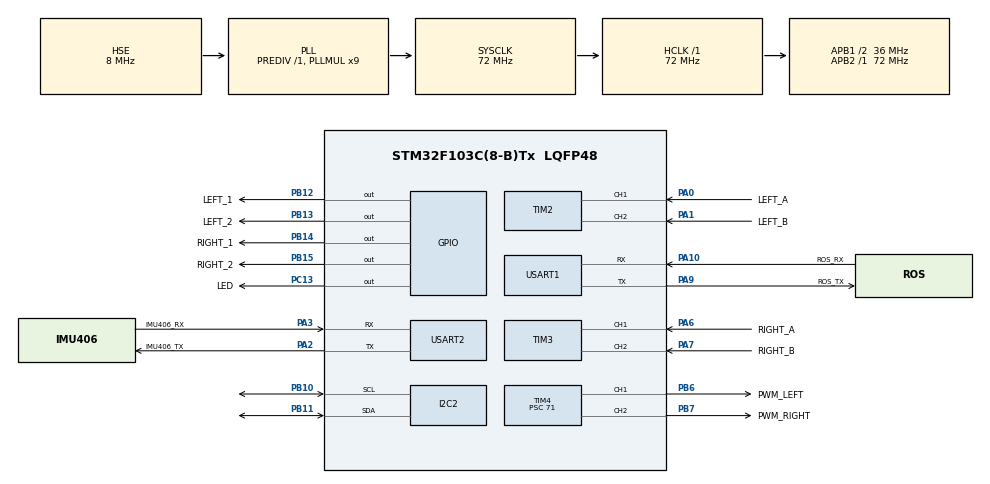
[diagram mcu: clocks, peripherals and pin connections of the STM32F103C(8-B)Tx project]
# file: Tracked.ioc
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I2C2.I2C_Mode=I2C_Fast
Mcu.Family=STM32F1
Mcu.Name=STM32F103C(8-B)Tx
Mcu.Package=LQFP48
NVIC.PriorityGroup=NVIC_PRIORITYGROUP_4
NVIC.USART1_IRQn=true\:0\:0\:false\:false\:true\:true\:true\:true
NVIC.USART2_IRQn=true\:0\:0\:false\:false\:true\:true\:true\:true
PA0-WKUP.GPIO_Label=LEFT_A
PA0-WKUP.Signal=S_TIM2_CH1_ETR
PA1.GPIO_Label=LEFT_B
PA1.Signal=S_TIM2_CH2
PA10.GPIO_Label=ROS_RX
PA10.Mode=Asynchronous
PA10.Signal=USART1_RX
PA13.Mode=Serial_Wire
PA13.Signal=SYS_JTMS-SWDIO
PA14.Mode=Serial_Wire
PA14.Signal=SYS_JTCK-SWCLK
PA2.GPIO_Label=IMU406_TX
PA2.Mode=Asynchronous
PA2.Signal=USART2_TX
PA3.GPIO_Label=IMU406_RX
PA3.Mode=Asynchronous
PA3.Signal=USART2_RX
PA6.GPIO_Label=RIGHT_A
PA6.Signal=S_TIM3_CH1
PA7.GPIO_Label=RIGHT_B
PA7.Signal=S_TIM3_CH2
PA9.GPIO_Label=ROS_TX
PA9.Mode=Asynchronous
PA9.Signal=USART1_TX
PB10.Mode=I2C
PB10.Signal=I2C2_SCL
PB11.Mode=I2C
PB11.Signal=I2C2_SDA
PB12.GPIO_Label=LEFT_1
PB12.Signal=GPIO_Output
PB13.GPIO_Label=LEFT_2
PB13.Signal=GPIO_Output
PB14.GPIO_Label=RIGHT_1
PB14.Signal=GPIO_Output
PB15.GPIO_Label=RIGHT_2
PB15.Signal=GPIO_Output
PB6.GPIO_Label=PWM_LEFT
PB6.Signal=S_TIM4_CH1
PB7.GPIO_Label=PWM_RIGHT
PB7.Signal=S_TIM4_CH2
PC13-TAMPER-RTC.GPIO_Label=LED
PC13-TAMPER-RTC.Signal=GPIO_Output
PC14-OSC32_IN.Mode=LSE-External-Oscillator
PC14-OSC32_IN.Signal=RCC_OSC32_IN
PC15-OSC32_OUT.Mode=LSE-External-Oscillator
PC15-OSC32_OUT.Signal=RCC_OSC32_OUT
PD0-OSC_IN.Mode=HSE-External-Oscillator
PD0-OSC_IN.Signal=RCC_OSC_IN
PD1-OSC_OUT.Mode=HSE-External-Oscillator
PD1-OSC_OUT.Signal=RCC_OSC_OUT
ProjectManager.HeapSize=0x200
ProjectManager.StackSize=0x400
ProjectManager.TargetToolchain=CMake
RCC.AHBFreq_Value=72000000
RCC.APB1CLKDivider=RCC_HCLK_DIV2
RCC.APB1Freq_Value=36000000
RCC.APB1TimFreq_Value=72000000
RCC.APB2Freq_Value=72000000
RCC.APB2TimFreq_Value=72000000
RCC.HCLKFreq_Value=72000000
RCC.PLLMUL=RCC_PLL_MUL9
RCC.PLLSourceVirtual=RCC_PLLSOURCE_HSE
RCC.SYSCLKFreq_VALUE=72000000
RCC.SYSCLKSource=RCC_SYSCLKSOURCE_PLLCLK
RCC.USBFreq_Value=72000000
SH.S_TIM2_CH1_ETR.0=TIM2_CH1,Encoder_Interface
SH.S_TIM2_CH2.0=TIM2_CH2,Encoder_Interface
SH.S_TIM3_CH1.0=TIM3_CH1,Encoder_Interface
SH.S_TIM3_CH2.0=TIM3_CH2,Encoder_Interface
SH.S_TIM4_CH1.0=TIM4_CH1,PWM Generation1 CH1
SH.S_TIM4_CH2.0=TIM4_CH2,PWM Generation2 CH2
TIM2.EncoderMode=TIM_ENCODERMODE_TI12
TIM3.EncoderMode=TIM_ENCODERMODE_TI12
TIM4.Channel-PWM\ Generation1\ CH1=TIM_CHANNEL_1
TIM4.Channel-PWM\ Generation2\ CH2=TIM_CHANNEL_2
TIM4.Period=999
TIM4.Prescaler=71
USART1.VirtualMode=VM_ASYNC
USART2.VirtualMode=VM_ASYNC
VP_TIM4_VS_ClockSourceINT.Mode=Internal
board=custom

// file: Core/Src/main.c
/* USER CODE BEGIN Header */
/**
  ******************************************************************************
  * @file           : main.c
  * @brief          : Main program body
  ******************************************************************************
  * @attention
  *
  * Copyright (c) 2026 STMicroelectronics.
  * All rights reserved.
  *
  * This software is licensed under terms that can be found in the LICENSE file
  * in the root directory of this software component.
  * If no LICENSE file comes with this software, it is provided AS-IS.
  *
  ******************************************************************************
  */
/* USER CODE END Header */
#include "main.h"
#include "i2c.h"
#include "tim.h"
#include "usart.h"
#include "gpio.h"

/* USER CODE BEGIN Includes */
#include "oled.h"
#include "Tracked.h"
#include <stdio.h>
/* USER CODE END Includes */

void SystemClock_Config(void);

int main(void)
{

  /* MCU Configuration--------------------------------------------------------*/

  /* Reset of all peripherals, Initializes the Flash interface and the Systick. */
  HAL_Init();

  /* Configure the system clock */
  SystemClock_Config();

  /* Initialize all configured peripherals */
  MX_GPIO_Init();
  MX_TIM2_Init();
  MX_TIM3_Init();
  MX_TIM4_Init();
  MX_USART1_UART_Init();
  MX_USART2_UART_Init();
  MX_I2C2_Init();
  /* USER CODE BEGIN 2 */

  OLED_Init();
  OLED_NewFrame();
  OLED_PrintString(0, 0, "Tracked Init...", &font16x16, OLED_COLOR_NORMAL);
  OLED_ShowFrame();
  HAL_Delay(300);

  /* ---- 底盘初始化 ---- */
  Tracked_Init();

  /* ---- 设置目标速度：前进 0.2 m/s ---- */
  Tracked_SetTargetSpeed(0.05f, 0.0f);

  /* USER CODE END 2 */

  /* Infinite loop */
  /* USER CODE BEGIN WHILE */
  while (1) {
    /* ============================================================ */
    /*  1. 设置目标速度（持续刷新，防止超时清零）                     */
    /* ============================================================ */
    Tracked_SetTargetSpeed(0.05f, 0.0f);   /* 前进 0.05 m/s，不转向 */

    /* ============================================================ */
    /*  2. OLED 显示实时状态                                         */
    /* ============================================================ */
    {
      char buf[24];

      OLED_NewFrame();

      /* 第 0 行：左右轮编码器原始计数 */
      snprintf(buf, sizeof(buf), "L:%d", (int)g_tracked.delta_left_cnt);
      OLED_PrintString(0, 0, buf, &font16x16, OLED_COLOR_NORMAL);

      snprintf(buf, sizeof(buf), "R:%d", (int)g_tracked.delta_right_cnt);
      OLED_PrintString(64, 0, buf, &font16x16, OLED_COLOR_NORMAL);

      /* 第 1 行：左右轮实时线速度（由编码器算得） */
      snprintf(buf, sizeof(buf), "vl:%.3f", g_tracked.current_vl);
      OLED_PrintString(0, 16, buf, &font16x16, OLED_COLOR_NORMAL);

      snprintf(buf, sizeof(buf), "vr:%.3f", g_tracked.current_vr);
      OLED_PrintString(64, 16, buf, &font16x16, OLED_COLOR_NORMAL);

      /* 第 2 行：目标速度 */
      snprintf(buf, sizeof(buf), "tvl:%.3f", g_tracked.target_vl);
      OLED_PrintString(0, 32, buf, &font16x16, OLED_COLOR_NORMAL);

      snprintf(buf, sizeof(buf), "tvr:%.3f", g_tracked.target_vr);
      OLED_PrintString(64, 32, buf, &font16x16, OLED_COLOR_NORMAL);

      /* 第 3 行：PID 输出 */
      snprintf(buf, sizeof(buf), "ol:%.0f", g_tracked.pid_left.output);
      OLED_PrintString(0, 48, buf, &font16x16, OLED_COLOR_NORMAL);

      snprintf(buf, sizeof(buf), "or:%.0f", g_tracked.pid_right.output);
      OLED_PrintString(64, 48, buf, &font16x16, OLED_COLOR_NORMAL);

      OLED_ShowFrame();
    }
    /* USER CODE END WHILE */

  }
}

void SystemClock_Config(void)
{
  RCC_OscInitTypeDef RCC_OscInitStruct = {0};
  RCC_ClkInitTypeDef RCC_ClkInitStruct = {0};

  /** Initializes the RCC Oscillators according to the specified parameters
  * in the RCC_OscInitTypeDef structure.
  */
  RCC_OscInitStruct.OscillatorType = RCC_OSCILLATORTYPE_HSE;
  RCC_OscInitStruct.HSEState = RCC_HSE_ON;
  RCC_OscInitStruct.HSEPredivValue = RCC_HSE_PREDIV_DIV1;
  RCC_OscInitStruct.HSIState = RCC_HSI_ON;
  RCC_OscInitStruct.PLL.PLLState = RCC_PLL_ON;
  RCC_OscInitStruct.PLL.PLLSource = RCC_PLLSOURCE_HSE;
  RCC_OscInitStruct.PLL.PLLMUL = RCC_PLL_MUL9;
  if (HAL_RCC_OscConfig(&RCC_OscInitStruct) != HAL_OK)
  {
    Error_Handler();
  }

  /** Initializes the CPU, AHB and APB buses clocks
  */
  RCC_ClkInitStruct.ClockType = RCC_CLOCKTYPE_HCLK|RCC_CLOCKTYPE_SYSCLK
                              |RCC_CLOCKTYPE_PCLK1|RCC_CLOCKTYPE_PCLK2;
  RCC_ClkInitStruct.SYSCLKSource = RCC_SYSCLKSOURCE_PLLCLK;
  RCC_ClkInitStruct.AHBCLKDivider = RCC_SYSCLK_DIV1;
  RCC_ClkInitStruct.APB1CLKDivider = RCC_HCLK_DIV2;
  RCC_ClkInitStruct.APB2CLKDivider = RCC_HCLK_DIV1;

  if (HAL_RCC_ClockConfig(&RCC_ClkInitStruct, FLASH_LATENCY_2) != HAL_OK)
  {
    Error_Handler();
  }
}

void Error_Handler(void)
{
  __disable_irq();
  while (1)
  {
  }
}
